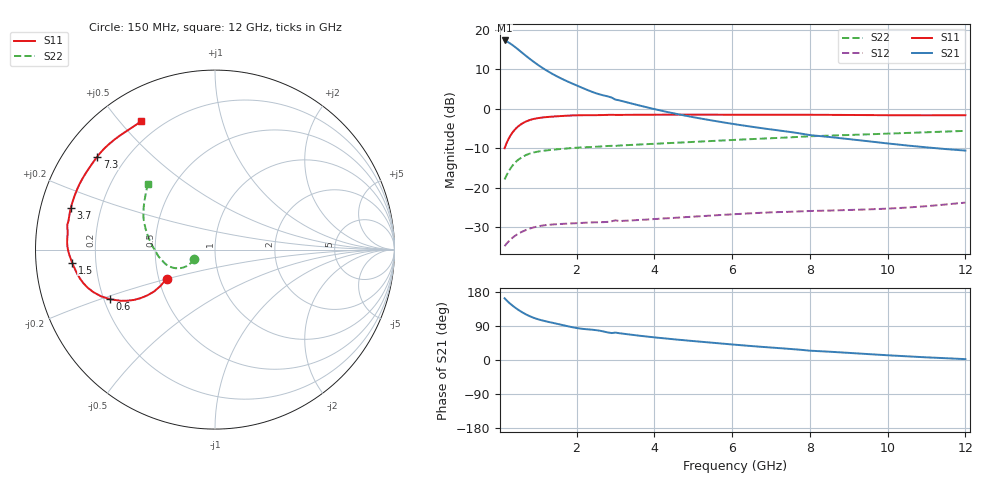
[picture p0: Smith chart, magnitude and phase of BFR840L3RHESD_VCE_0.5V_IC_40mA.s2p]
! Infineon Technologies  Discrete & RF Semiconductors
! BFR840L3RHESD
! VCE =  0.5 V,  IC =  40 mA
! Common Emitter S-Parameters:  Jun 2012
# GHz  S  MA  R  50
!  f  S11  S21  S12  S22
! GHz  MAG  ANG  MAG  ANG  MAG  ANG  MAG  ANG
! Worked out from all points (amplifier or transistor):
!   91 points, 150 MHz to 12 GHz, reference 50 ohm
!   highest |S21| = 17.3 dB at 150 MHz (marker M1)
!   |S21| within 3 dB of that: start of sweep to 587.1 MHz
!   unconditionally stable (mu >= 1): start of sweep to end of sweep
!   at 1.3 GHz: K = 1.86, MAG = 14.0 dB, |S12| = -29.4 dB
!   at 4.3 GHz: K = 3.59, MAG = 5.0 dB, |S12| = -27.8 dB
!   at 12 GHz: K = 6.48, MAG = -4.5 dB, |S12| = -23.8 dB
!   S11 on the Smith chart (normalised r, x): 150 MHz: 0.55, -0.20; 600 MHz: 0.22, -0.21; 1.5 GHz: 0.11, -0.04; 3.7 GHz: 0.09, +0.14; 7.3 GHz: 0.10, +0.34; 12 GHz: 0.13, +0.57
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0.15  0.3151 -149.0  7.295 162.8  0.0181 17.8  0.1267 -156.5
0.2  0.3646 -146.3  7.105 157.4  0.0195 21.3  0.1429 -152.4
0.25  0.4118 -145.5  6.886 152.5  0.0207 23.5  0.1591 -150.5
0.35  0.4959 -146.9  6.387 143.8  0.0231 25.4  0.1888 -149.9
0.45  0.566 -149.8  5.859 136.1  0.0251 25.3  0.214 -151.4
0.6  0.6471 -154.7  5.103 126.0  0.0276 23.9  0.2435 -154.8
0.7  0.6871 -157.8  4.654 120.3  0.029 22.7  0.2582 -157.2
0.8  0.7176 -160.7  4.256 115.4  0.0303 21.6  0.2696 -159.4
1  0.757 -165.7  3.601 107.8  0.0322 19.9  0.285 -163.2
1.2  0.7788 -169.9  3.101 102.4  0.0334 19.0  0.2946 -166.3
1.5  0.7991 -174.8  2.556 95.5  0.0344 18.8  0.3051 -169.7
1.9  0.8193 -180.0  2.066 86.3  0.0352 19.2  0.317 -173.2
2.2  0.8252 176.8  1.786 81.7  0.0358 19.4  0.3232 -175.5
2.9  0.8346 170.3  1.382 71.1  0.0374 19.8  0.3376 -179.6
3  0.8322 169.3  1.3 72.3  0.0385 20.1  0.3364 179.7
3.7  0.8357 164.0  1.07 63.1  0.0391 22.5  0.3525 175.8
4.2  0.8373 160.4  0.937 57.7  0.0405 23.9  0.3622 173.3
6.1  0.8359 148.3  0.631 40.2  0.0461 25.7  0.4023 163.6
7.3  0.8357 141.7  0.521 30.7  0.0491 25.7  0.4281 157.8
8.5  0.833 135.0  0.437 21.9  0.0511 26.7  0.4545 151.2
10.5  0.823 125.6  0.341 9.7  0.0558 30.3  0.4916 142.0
12  0.8241 119.8  0.294 2.3  0.0645 30.3  0.5223 135.8
